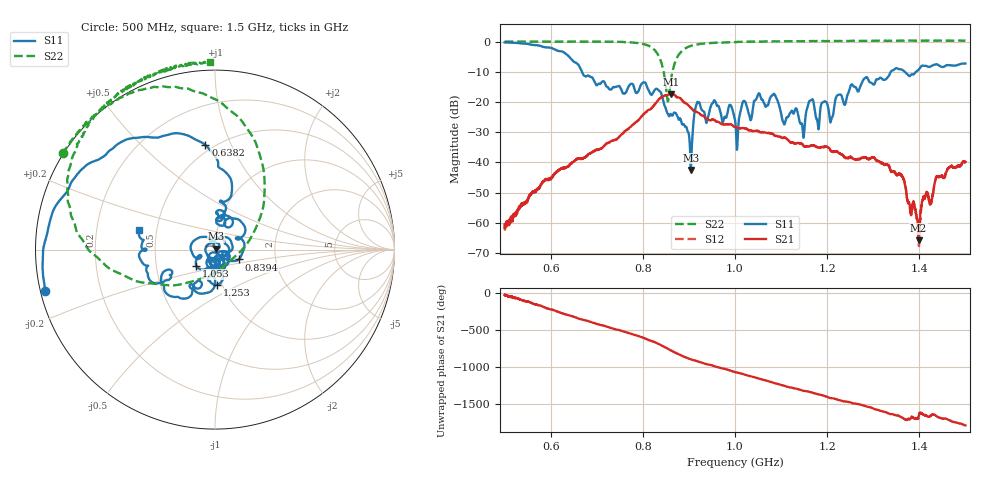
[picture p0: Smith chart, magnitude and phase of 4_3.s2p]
!Keysight Technologies,N5242B,MY48420860,A.13.80.08
!Date: Saturday, September 26, 2020 12:44:56
!Correction: S11(Full 2 Port(1,2))
!S21(Full 2 Port(1,2))
!S12(Full 2 Port(1,2))
!S22(Full 2 Port(1,2))
!S2P File: Measurements: S11, S21, S12, S22:
# Hz S  dB  R 50
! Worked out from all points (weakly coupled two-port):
!   2650 points, 500 MHz to 1.5 GHz, reference 50 ohm
!   highest |S21| = -17.44 dB at 861.6 MHz (marker M1); lowest = -65.9 dB at 1.398 GHz (marker M2)
!   lowest |S11| = -42.5 dB at 903.9 MHz (marker M3), VSWR 1.02, Z = 50.5 + j0.566 ohm
!   |S11| at or under -10 dB: 668 MHz to 1.338 GHz (669.8 MHz wide, 66.8 % of centre); 1.369 GHz to 1.392 GHz (23.42 MHz wide, 1.7 % of centre)
!   |S22| runs from -19.8 to 0.4 dB; largest |S21 - S12| = 0.00058
!   S11 on the Smith chart (normalised r, x): 500 MHz: 0.01, -0.12; 638.2 MHz: 0.45, +0.80; 839.4 MHz: 1.29, -0.15; 1.053 GHz: 0.80, -0.15; 1.253 GHz: 0.95, -0.38; 1.5 GHz: 0.40, +0.11
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5e8  -0.23 -166.2  -60.61 -31.1  -61.98 -29.4  0.03 147.7
5.687052e8  -1.12 153.2  -49.15 -157.9  -49.11 -158.6  0.03 142.3
6.381653e8  -4.65 95.2  -41.38 58.6  -41.39 58.4  0.04 136.0
6.668554e8  -9.57 73.7  -38.76 -0.7  -38.82 -0.9  0.05 133.0
7.989807e8  -13.77 57.4  -24.46 115.6  -24.48 115.5  -0.71 102.3
8.337108e8  -16.04 -2.5  -19.24 30.1  -19.26 30.0  -4.51 65.7
8.393733e8  -16.90 -22.6  -18.49 11.3  -18.52 11.3  -6.55 54.1
8.533409e8  -23.75 -42.6  -17.63 -33.5  -17.66 -33.6  -19.27 -29.8
8.616459e8  -24.24 -49.1  -17.44 -61.1  -17.46 -61.3  -12.02 -131.4
9.03926e8  -42.53 48.6  -21.88 -179.8  -21.90 -179.8  -1.39 162.8
9.194035e8  -19.97 26.3  -23.50 150.7  -23.52 150.5  -0.83 155.0
9.907512e8  -21.03 -101.1  -27.34 25.3  -27.34 25.4  -0.15 137.5
1.000189e9  -26.07 -132.3  -28.26 7.5  -28.30 7.7  -0.10 136.2
1.053039e9  -17.21 -139.3  -29.91 -83.0  -29.95 -83.1  0.06 129.4
1.146659e9  -28.72 -58.8  -34.03 116.5  -34.08 116.7  0.21 120.4
1.166667e9  -19.19 -73.4  -34.47 91.5  -34.43 91.6  0.17 118.7
1.209324e9  -25.56 -74.5  -36.39 14.0  -36.46 14.1  0.23 115.3
1.252737e9  -14.19 -86.4  -38.37 -49.0  -38.46 -49.6  0.27 111.8
1.333522e9  -11.42 -118.2  -41.06 167.1  -41.22 166.4  0.37 105.4
1.398452e9  -9.24 -148.1  -65.89 124.5  -65.40 116.5  0.39 100.4
1.438467e9  -7.48 -176.9  -44.63 124.1  -44.58 123.2  0.33 96.9
1.5e9  -7.23 165.2  -39.87 5.0  -39.93 5.3  0.37 91.7
